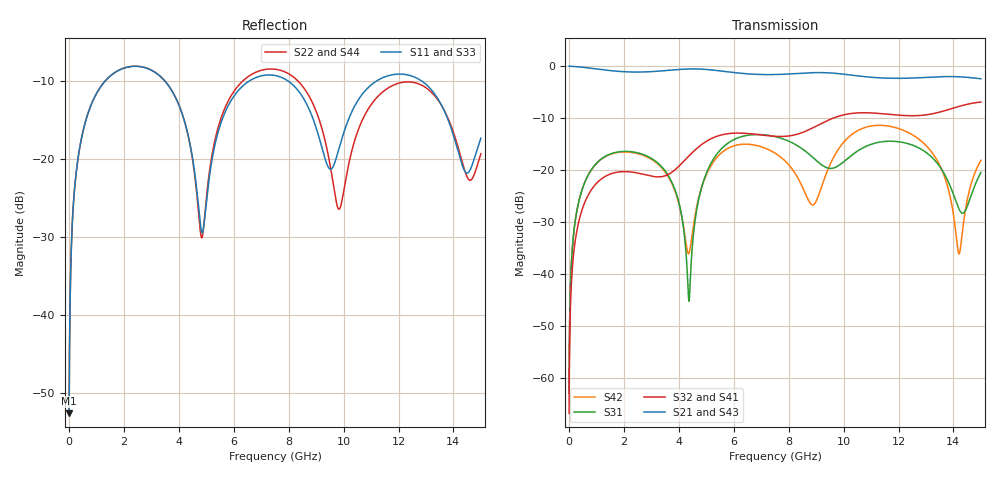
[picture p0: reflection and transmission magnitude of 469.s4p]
! Created with skrf 1.8.0 (http://scikit-rf.org).
# GHz S RI R 50.0
!freq ReS11 ImS11 ReS12 ImS12 ReS13 ImS13
! ReS14 ImS14
! ReS21 ImS21 ReS22 ImS22 ReS23 ImS23
! ReS24 ImS24
! ReS31 ImS31 ReS32 ImS32 ReS33 ImS33
! ReS34 ImS34
! ReS41 ImS41 ReS42 ImS42 ReS43 ImS43
! ReS44 ImS44
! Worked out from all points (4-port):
!   2499 points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, 5 MHz to 15 GHz, reference 50 ohm
!   strongest paths, dB at 5 MHz, 3.476 GHz, 7.19 GHz, 11.1 GHz, 15 GHz:
!     S21: 0.0, -0.9, -1.6, -2.2, -2.4
!     S43: 0.0, -0.9, -1.6, -2.2, -2.4
!     S32: -66.7, -21.1, -13.3, -9.0, -6.9
!     S41: -66.7, -21.2, -13.4, -9.1, -6.9
!     S31: -62.8, -20.0, -13.3, -14.9, -20.4
!     S42: -62.8, -20.2, -15.9, -11.4, -18.1
!   lowest |S11| = -52.7 dB at 5 MHz (marker M1), VSWR 1.00, Z = 50.2 + j0.142 ohm
!   |S11| at or under -10 dB: 3.502 GHz to 6.547 GHz (3.046 GHz wide, 60.6 % of centre); 7.996 GHz to 11.18 GHz (3.186 GHz wide, 33.2 % of centre); 12.86 GHz to end of sweep (the widest 3 of 4)
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0.005  0.00185 0.00141  0.9981 -0.00361  9.32e-05 0.000717  -9.06e-05 -0.000453
       0.9981 -0.00361  0.00185 0.00141  -9.06e-05 -0.000453  9.31e-05 0.000717
       9.32e-05 0.000717  -9.06e-05 -0.000453  0.00185 0.00141  0.9981 -0.00361
       -9.06e-05 -0.000453  9.31e-05 0.000717  0.9981 -0.00361  0.00185 0.00141
0.3126303  0.0295 0.0917  0.9595 -0.2232  0.0137 0.0419  -0.0113 -0.026
           0.9595 -0.2232  0.0296 0.0917  -0.0113 -0.026  0.0133 0.042
           0.0137 0.0419  -0.0113 -0.026  0.0295 0.0917  0.9595 -0.2232
           -0.0113 -0.026  0.0133 0.042  0.9595 -0.2232  0.0296 0.0917
1.419341  0.2813 0.1754  0.5256 -0.7429  0.1294 0.0537  -0.0898 -0.00268
          0.5256 -0.7429  0.2825 0.1745  -0.0899 -0.00259  0.1261 0.0583
          0.1294 0.0537  -0.0899 -0.00259  0.2812 0.1754  0.5256 -0.7429
          -0.0898 -0.00268  0.1261 0.0583  0.5256 -0.7429  0.2825 0.1744
4.370571  0.0683 -0.1162  -0.8684 -0.3548  -0.00548 -0.000373  -0.0488 0.1283
          -0.8684 -0.3548  0.0646 -0.1162  -0.0475 0.1288  -0.0158 -0.00211
          -0.00548 -0.000373  -0.0475 0.1288  0.0685 -0.1152  -0.8686 -0.3545
          -0.0488 0.1283  -0.0158 -0.00211  -0.8686 -0.3545  0.0638 -0.1157
7.29679  0.3473 0.0119  -0.0954 0.8227  0.1722 -0.1294  0.2081 -0.0441
         -0.0954 0.8227  0.3791 -0.0143  0.2084 -0.0472  0.1562 -0.00463
         0.1722 -0.1294  0.2084 -0.0472  0.3486 0.0124  -0.0955 0.8219
         0.2081 -0.0441  0.1562 -0.00463  -0.0955 0.8219  0.3814 -0.0137
10.00417  0.1187 0.0874  0.8346 -0.045  -0.0321 0.1161  -0.0328 -0.3382
          0.8346 -0.045  0.0563 0.0261  -0.0392 -0.3377  0.1277 0.1348
          -0.0321 0.1161  -0.0392 -0.3377  0.1192 0.0854  0.8347 -0.0439
          -0.0328 -0.3382  0.1277 0.1348  0.8347 -0.0439  0.0571 0.026
15  0.1151 0.0733  -0.7548 0.0249  0.0477 0.0823  0.0336 0.4497
    -0.7548 0.0249  0.0905 0.0597  0.0464 0.4492  0.0796 0.0957
    0.0477 0.0823  0.0464 0.4492  0.1133 0.0715  -0.7549 0.0221
    0.0336 0.4497  0.0796 0.0957  -0.7549 0.0221  0.0933 0.0607
